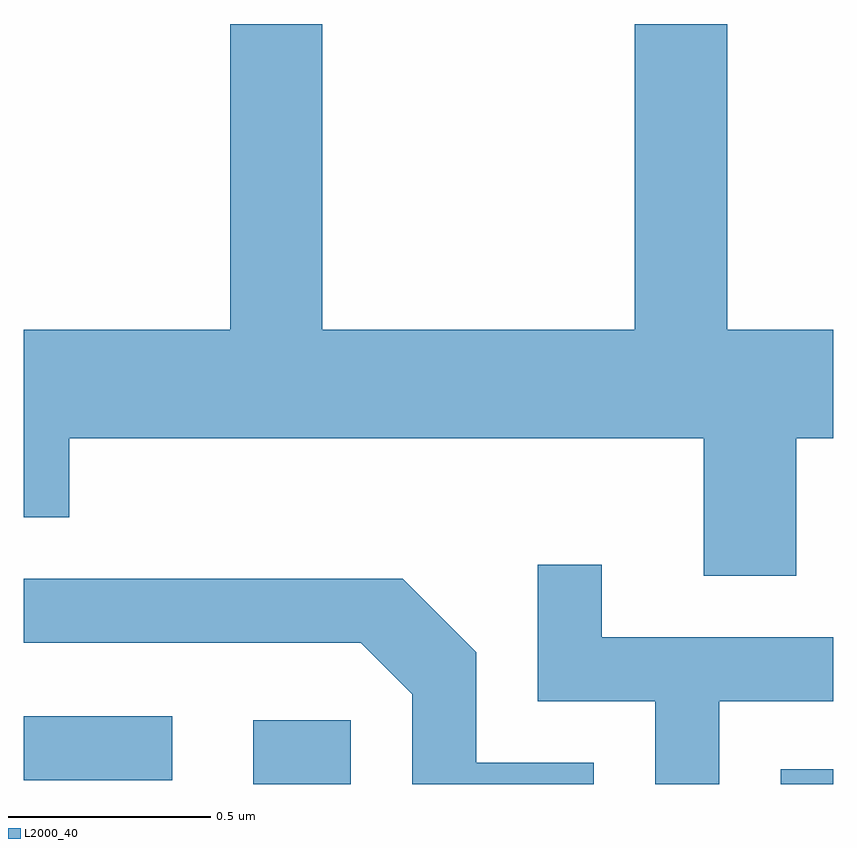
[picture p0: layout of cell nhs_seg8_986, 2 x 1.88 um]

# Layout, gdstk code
import gdstk
lib = gdstk.Library(unit=1e-6, precision=1e-09)
def R(c, l, rs):  # rectangles x0, y0, x1, y1
    for r in rs: c.add(gdstk.rectangle(r[:2], r[2:], *l))
def P(c, l, *ps):  # polygons
    for p in ps: c.add(gdstk.Polygon(p, *l))
L2000_40 = (2000, 40)

nhs_seg8_986 = lib.new_cell('nhs_seg8_986')
R(nhs_seg8_986, L2000_40, [(193.178,1833.342,193.419,1833.499), (194.481,1833.342,194.611,1833.379), (192.611,1833.351,192.978,1833.509)])
P(nhs_seg8_986, L2000_40, [(194.519,1834.196),(194.611,1834.196),(194.611,1834.464),(194.349,1834.464),(194.349,1835.219),(194.121,1835.219),(194.121,1834.464),(193.349,1834.464),(193.349,1835.219),(193.121,1835.219),(193.121,1834.464),(192.611,1834.464),(192.611,1834.001),(192.724,1834.001),(192.724,1834.196),(194.291,1834.196),(194.291,1833.856),(194.519,1833.856)],
  [(194.329,1833.546),(194.611,1833.546),(194.611,1833.704),(194.039,1833.704),(194.039,1833.883),(193.881,1833.883),(193.881,1833.546),(194.171,1833.546),(194.171,1833.342),(194.329,1833.342)],
  [(194.019,1833.394),(193.729,1833.394),(193.729,1833.667),(193.547,1833.849),(192.611,1833.849),(192.611,1833.691),(193.444,1833.691),(193.571,1833.564),(193.571,1833.342),(194.019,1833.342)])

lib.write_gds('nhs_seg8_986.gds')
